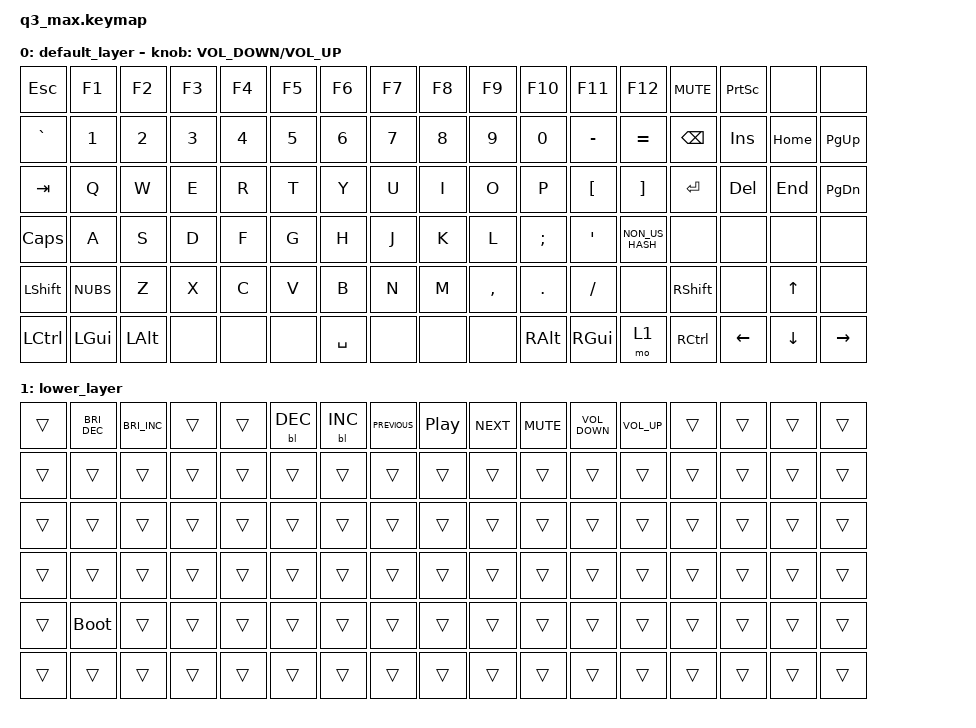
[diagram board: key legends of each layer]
#include <behaviors.dtsi>
#include <dt-bindings/zmk/keys.h>
#include <dt-bindings/zmk/backlight.h>

/ {
    keymap {
        compatible = "zmk,keymap";

        default_layer {
            sensor-bindings = <&inc_dec_kp K_VOLUME_DOWN K_VOLUME_UP>;
            bindings = <
                &kp ESC          &kp F1        &kp F2       &kp F3 &kp F4 &kp F5 &kp F6    &kp F7 &kp F8 &kp F9    &kp F10       &kp F11          &kp F12           &kp K_MUTE        &kp PRINTSCREEN &none           &none
                &kp GRAVE        &kp N1        &kp N2       &kp N3 &kp N4 &kp N5 &kp N6    &kp N7 &kp N8 &kp N9    &kp N0        &kp MINUS        &kp EQUAL         &kp BACKSPACE     &kp INSERT      &kp HOME        &kp PAGE_UP
                &kp TAB          &kp Q         &kp W        &kp E  &kp R  &kp T  &kp Y     &kp U  &kp I  &kp O     &kp P         &kp LEFT_BRACKET &kp RIGHT_BRACKET &kp RETURN        &kp DELETE      &kp END         &kp PAGE_DOWN
                &kp CAPSLOCK     &kp A         &kp S        &kp D  &kp F  &kp G  &kp H     &kp J  &kp K  &kp L     &kp SEMICOLON &kp SINGLE_QUOTE &kp NON_US_HASH   &none             &none           &none           &none
                &kp LEFT_SHIFT   &kp NUBS      &kp Z        &kp X  &kp C  &kp V  &kp B     &kp N  &kp M  &kp COMMA &kp PERIOD    &kp SLASH        &none             &kp RIGHT_SHIFT   &none           &kp UP_ARROW    &none
                &kp LEFT_CONTROL &kp LEFT_GUI  &kp LEFT_ALT &none  &none  &none  &kp SPACE &none  &none  &none     &kp RIGHT_ALT &kp RIGHT_GUI    &mo 1             &kp RIGHT_CONTROL &kp LEFT_ARROW  &kp DOWN_ARROW  &kp RIGHT_ARROW
            >;
        };

        lower_layer {
            bindings = <
                &trans &kp C_BRIGHTNESS_DEC &kp C_BRIGHTNESS_INC &trans &trans &bl BL_DEC &bl BL_INC &kp C_PREVIOUS &kp C_PLAY_PAUSE &kp C_NEXT &kp K_MUTE &kp K_VOLUME_DOWN &kp K_VOLUME_UP &trans &trans &trans &trans
                &trans &trans               &trans               &trans &trans &trans     &trans     &trans         &trans           &trans     &trans     &trans            &trans          &trans &trans &trans &trans
                &trans &trans               &trans               &trans &trans &trans     &trans     &trans         &trans           &trans     &trans     &trans            &trans          &trans &trans &trans &trans
                &trans &trans               &trans               &trans &trans &trans     &trans     &trans         &trans           &trans     &trans     &trans            &trans          &trans &trans &trans &trans
                &trans &bootloader          &trans               &trans &trans &trans     &trans     &trans         &trans           &trans     &trans     &trans            &trans          &trans &trans &trans &trans
                &trans &trans               &trans               &trans &trans &trans     &trans     &trans         &trans           &trans     &trans     &trans            &trans          &trans &trans &trans &trans
            >;
        };
    };
 };
